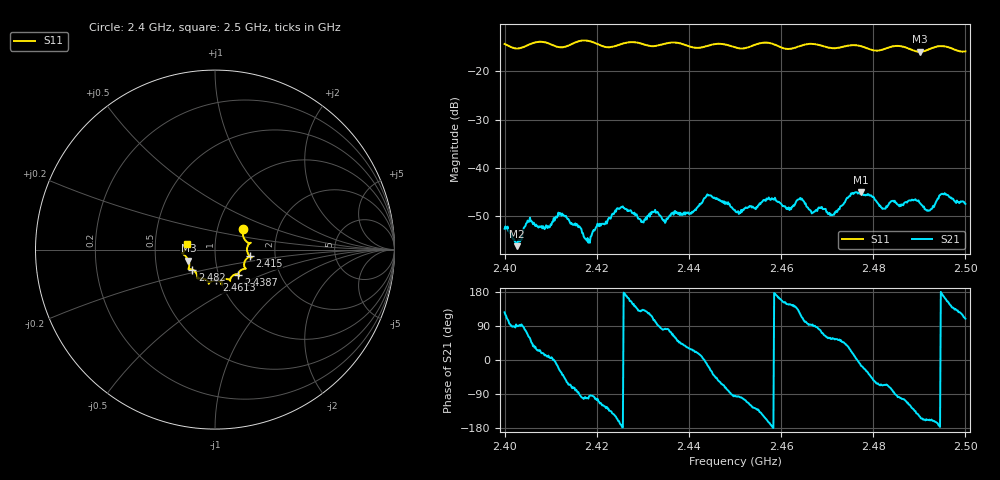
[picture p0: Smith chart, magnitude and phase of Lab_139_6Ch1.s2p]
# Hz S RI R 50
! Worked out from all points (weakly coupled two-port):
!   601 points, 2.4 GHz to 2.5 GHz, reference 50 ohm
!   highest |S21| = -45.03 dB at 2.4773 GHz (marker M1); lowest = -56.3 dB at 2.4027 GHz (marker M2)
!   lowest |S11| = -15.9 dB at 2.4902 GHz (marker M3), VSWR 1.38, Z = 36.9 - j4.61 ohm
!   |S11| at or under -10 dB: start of sweep to end of sweep
!   S12 and S22 are empty: the file has one direction only
!   S11 on the Smith chart (normalised r, x): 2.4 GHz: 1.33, +0.31; 2.415 GHz: 1.47, -0.11; 2.4387 GHz: 1.24, -0.36; 2.4613 GHz: 0.96, -0.34; 2.482 GHz: 0.76, -0.17; 2.5 GHz: 0.73, +0.05
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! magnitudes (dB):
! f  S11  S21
! 2.4 GHz  -14.3  -52.7
! 2.4027 GHz  -15.2  -56.3
! 2.4053 GHz  -14.4  -51.2
! 2.415 GHz  -14.1  -51.8
! 2.4167 GHz  -13.6  -52.8
! 2.4182 GHz  -13.7  -55.6
! 2.4252 GHz  -14.4  -48.3
! 2.4298 GHz  -14.3  -51.1
! 2.4333 GHz  -14.6  -49.4
! 2.4387 GHz  -14.3  -49.8
! 2.4443 GHz  -14.6  -45.7
! 2.45 GHz  -15.0  -48.8
! 2.4577 GHz  -14.1  -46.7
! 2.4613 GHz  -15.3  -48.3
! 2.4642 GHz  -14.7  -46.3
! 2.4667 GHz  -14.3  -49.5
! 2.4712 GHz  -15.2  -49.8
! 2.4773 GHz  -14.7  -45.0
! 2.482 GHz  -15.5  -48.5
! 2.4833 GHz  -15.0  -47.7
! 2.4902 GHz  -15.9  -47.4
! 2.5 GHz  -15.8  -47.5
